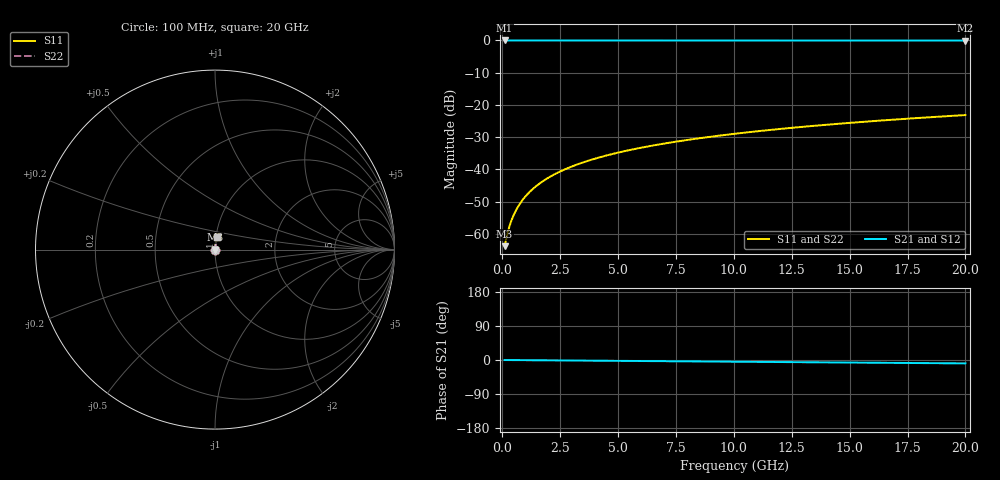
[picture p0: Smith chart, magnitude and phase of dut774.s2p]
! Touchstone file exported from HFSS 2026.1.0
!  File:  C:/ffzhzh/LocalFiles/Ansys_Project_Files/temp_train_TSV_774_1783183525_51560.aedt
!  Generated:  12:47:17 AM Jul  5, 2026
!  Design:  TSV
!  Project:  temp_train_TSV_774_1783183525_51560
! Variables:
!  h_bsmrdl = 2um
!  h_ox = 20um
!  h_rdl = 5um
!  h_sub = 80.51um
!  h_tmrdl = 5um
!  h_tsv = 80.51um
!  h_via = 3um
!  l_bsmrdl = 300um
!  l_sub = 408.74um
!  l_tmrdl = 200um
!  m_sub = 200um
!  pitch = 36.32um
!  r_tsv = 4.37um
!  s_tmrdl = 10um
!  w_bsmrdl = 18um
!  w_sub = 500um
!  w_tmrdl = 12um
!  x_tsv_center1 = 206um
!  x_tsv_center2 = 524um
!  x_tsv_center3 = 736um
!  x_tsv_center4 = 1054um
!  x_tsv_center5 = 1266um
!  x_tsv_center6 = 1584um
# GHz S MA R 50.000000
! Terminal data exported
! Port[1] = TSV1_1_T1
! Port[2] = TSV1_1_T2
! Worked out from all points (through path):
!   200 points, 100 MHz to 20 GHz, reference 50 ohm
!   highest |S21| = 0.00 dB at 100 MHz (marker M1); lowest = 0.0 dB at 20 GHz (marker M2)
!   group delay of S21, straight-line fit = 1.24 ps
!   lowest |S11| = -63.8 dB at 100 MHz (marker M3), VSWR 1.00, Z = 50.1 + j0.0391 ohm
!   |S11| at or under -10 dB: start of sweep to end of sweep
!   |S22| runs from -63.8 to -23.1 dB; largest |S21 - S12| = 3.2e-15
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0.1  0.0006445 37.3  0.9995 -0.0  0.9995 -0.0  0.0006445 37.3
! Gamma 0 0 0 0
! Port Impedance 50 0 50 0
0.2  0.0009375 56.0  0.9995 -0.1  0.9995 -0.1  0.0009375 56.0
0.3  0.001278 65.0  0.9995 -0.1  0.9995 -0.1  0.001278 65.0
0.4  0.001632 70.1  0.9994 -0.2  0.9994 -0.2  0.001632 70.1
0.5  0.001992 73.3  0.9994 -0.2  0.9994 -0.2  0.001992 73.3
0.6  0.002353 75.5  0.9994 -0.3  0.9994 -0.3  0.002353 75.5
0.8  0.003079 78.4  0.9994 -0.4  0.9994 -0.4  0.003079 78.4
1.1  0.004173 80.8  0.9994 -0.5  0.9994 -0.5  0.004173 80.8
1.5  0.005636 82.4  0.9993 -0.7  0.9993 -0.7  0.005636 82.4
1.8  0.006733 83.1  0.9993 -0.8  0.9993 -0.8  0.006733 83.1
2.1  0.007827 83.5  0.9992 -1.0  0.9992 -1.0  0.007827 83.5
2.7  0.01001 84.0  0.9991 -1.2  0.9991 -1.2  0.01001 84.0
3.5  0.01288 84.1  0.999 -1.6  0.999 -1.6  0.01288 84.1
4.2  0.01538 84.1  0.9988 -1.9  0.9988 -1.9  0.01538 84.1
5  0.0182 84.0  0.9987 -2.3  0.9987 -2.3  0.0182 84.0
5.9  0.02136 83.8  0.9985 -2.7  0.9985 -2.7  0.02136 83.8
6.8  0.02449 83.6  0.9983 -3.1  0.9983 -3.1  0.02449 83.6
8.3  0.02969 83.2  0.998 -3.8  0.998 -3.8  0.02969 83.2
10.1  0.03589 82.7  0.9976 -4.6  0.9976 -4.6  0.03589 82.7
13.4  0.04721 81.5  0.9969 -6.0  0.9969 -6.0  0.04721 81.5
16.7  0.05846 80.3  0.9961 -7.5  0.9961 -7.5  0.05846 80.3
20  0.06961 79.0  0.9951 -9.0  0.9951 -9.0  0.06961 79.0
